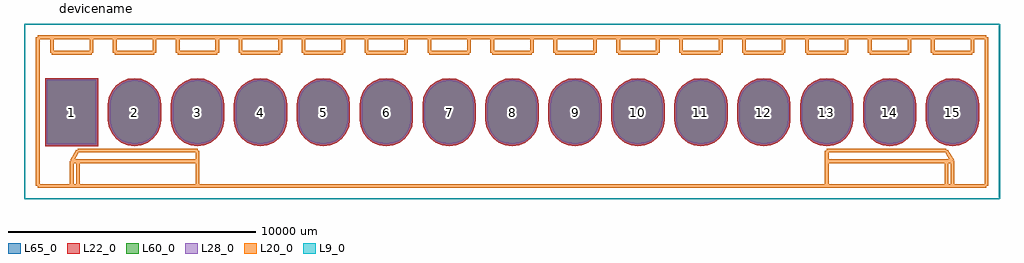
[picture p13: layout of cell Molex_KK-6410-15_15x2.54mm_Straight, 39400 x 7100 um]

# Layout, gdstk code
import gdstk
lib = gdstk.Library(unit=1e-6, precision=1e-09)
def R(c, l, rs):  # rectangles x0, y0, x1, y1
    for r in rs: c.add(gdstk.rectangle(r[:2], r[2:], *l))
def P(c, l, *ps):  # polygons
    for p in ps: c.add(gdstk.Polygon(p, *l))
L9_0 = (9, 0)
L20_0 = (20, 0)
L22_0 = (22, 0)
L28_0 = (28, 0)
L60_0 = (60, 0)
L65_0 = (65, 0)

molex_kk_6410_15_15x2_54 = lib.new_cell('Molex_KK-6410-15_15x2.54mm_Straight')
R(molex_kk_6410_15_15x2_54, L22_0, [(-1075,-1375,1075,1375)])
P(molex_kk_6410_15_15x2_54, L22_0, [(35560,-1375),(35838.23,-1338.37),(36097.5,-1230.977),(36320.14,-1060.14),(36490.977,-837.5),(36598.37,-578.23),(36635,-300),(36635,300),(36598.37,578.23),(36490.977,837.5),(36320.14,1060.14),(36097.5,1230.977),(35838.23,1338.37),(35560,1375),(35281.77,1338.37),(35022.5,1230.977),(34799.86,1060.14),(34629.023,837.5),(34521.63,578.23),(34485,300),(34485,-300),(34521.63,-578.23),(34629.023,-837.5),(34799.86,-1060.14),(35022.5,-1230.977),(35281.77,-1338.37)],
  [(33020,-1375),(33298.23,-1338.37),(33557.5,-1230.977),(33780.14,-1060.14),(33950.977,-837.5),(34058.37,-578.23),(34095,-300),(34095,300),(34058.37,578.23),(33950.977,837.5),(33780.14,1060.14),(33557.5,1230.977),(33298.23,1338.37),(33020,1375),(32741.77,1338.37),(32482.5,1230.977),(32259.86,1060.14),(32089.023,837.5),(31981.63,578.23),(31945,300),(31945,-300),(31981.63,-578.23),(32089.023,-837.5),(32259.86,-1060.14),(32482.5,-1230.977),(32741.77,-1338.37)],
  [(30480,-1375),(30758.23,-1338.37),(31017.5,-1230.977),(31240.14,-1060.14),(31410.977,-837.5),(31518.37,-578.23),(31555,-300),(31555,300),(31518.37,578.23),(31410.977,837.5),(31240.14,1060.14),(31017.5,1230.977),(30758.23,1338.37),(30480,1375),(30201.77,1338.37),(29942.5,1230.977),(29719.86,1060.14),(29549.023,837.5),(29441.63,578.23),(29405,300),(29405,-300),(29441.63,-578.23),(29549.023,-837.5),(29719.86,-1060.14),(29942.5,-1230.977),(30201.77,-1338.37)],
  [(27940,-1375),(28218.23,-1338.37),(28477.5,-1230.977),(28700.14,-1060.14),(28870.977,-837.5),(28978.37,-578.23),(29015,-300),(29015,300),(28978.37,578.23),(28870.977,837.5),(28700.14,1060.14),(28477.5,1230.977),(28218.23,1338.37),(27940,1375),(27661.77,1338.37),(27402.5,1230.977),(27179.86,1060.14),(27009.023,837.5),(26901.63,578.23),(26865,300),(26865,-300),(26901.63,-578.23),(27009.023,-837.5),(27179.86,-1060.14),(27402.5,-1230.977),(27661.77,-1338.37)],
  [(25400,-1375),(25678.23,-1338.37),(25937.5,-1230.977),(26160.14,-1060.14),(26330.977,-837.5),(26438.37,-578.23),(26475,-300),(26475,300),(26438.37,578.23),(26330.977,837.5),(26160.14,1060.14),(25937.5,1230.977),(25678.23,1338.37),(25400,1375),(25121.77,1338.37),(24862.5,1230.977),(24639.86,1060.14),(24469.023,837.5),(24361.63,578.23),(24325,300),(24325,-300),(24361.63,-578.23),(24469.023,-837.5),(24639.86,-1060.14),(24862.5,-1230.977),(25121.77,-1338.37)],
  [(22860,-1375),(23138.23,-1338.37),(23397.5,-1230.977),(23620.14,-1060.14),(23790.977,-837.5),(23898.37,-578.23),(23935,-300),(23935,300),(23898.37,578.23),(23790.977,837.5),(23620.14,1060.14),(23397.5,1230.977),(23138.23,1338.37),(22860,1375),(22581.77,1338.37),(22322.5,1230.977),(22099.86,1060.14),(21929.023,837.5),(21821.63,578.23),(21785,300),(21785,-300),(21821.63,-578.23),(21929.023,-837.5),(22099.86,-1060.14),(22322.5,-1230.977),(22581.77,-1338.37)],
  [(20320,-1375),(20598.23,-1338.37),(20857.5,-1230.977),(21080.14,-1060.14),(21250.977,-837.5),(21358.37,-578.23),(21395,-300),(21395,300),(21358.37,578.23),(21250.977,837.5),(21080.14,1060.14),(20857.5,1230.977),(20598.23,1338.37),(20320,1375),(20041.77,1338.37),(19782.5,1230.977),(19559.86,1060.14),(19389.023,837.5),(19281.63,578.23),(19245,300),(19245,-300),(19281.63,-578.23),(19389.023,-837.5),(19559.86,-1060.14),(19782.5,-1230.977),(20041.77,-1338.37)],
  [(17780,-1375),(18058.23,-1338.37),(18317.5,-1230.977),(18540.14,-1060.14),(18710.977,-837.5),(18818.37,-578.23),(18855,-300),(18855,300),(18818.37,578.23),(18710.977,837.5),(18540.14,1060.14),(18317.5,1230.977),(18058.23,1338.37),(17780,1375),(17501.77,1338.37),(17242.5,1230.977),(17019.86,1060.14),(16849.023,837.5),(16741.63,578.23),(16705,300),(16705,-300),(16741.63,-578.23),(16849.023,-837.5),(17019.86,-1060.14),(17242.5,-1230.977),(17501.77,-1338.37)],
  [(15240,-1375),(15518.23,-1338.37),(15777.5,-1230.977),(16000.14,-1060.14),(16170.977,-837.5),(16278.37,-578.23),(16315,-300),(16315,300),(16278.37,578.23),(16170.977,837.5),(16000.14,1060.14),(15777.5,1230.977),(15518.23,1338.37),(15240,1375),(14961.77,1338.37),(14702.5,1230.977),(14479.86,1060.14),(14309.023,837.5),(14201.63,578.23),(14165,300),(14165,-300),(14201.63,-578.23),(14309.023,-837.5),(14479.86,-1060.14),(14702.5,-1230.977),(14961.77,-1338.37)],
  [(12700,-1375),(12978.23,-1338.37),(13237.5,-1230.977),(13460.14,-1060.14),(13630.977,-837.5),(13738.37,-578.23),(13775,-300),(13775,300),(13738.37,578.23),(13630.977,837.5),(13460.14,1060.14),(13237.5,1230.977),(12978.23,1338.37),(12700,1375),(12421.77,1338.37),(12162.5,1230.977),(11939.86,1060.14),(11769.023,837.5),(11661.63,578.23),(11625,300),(11625,-300),(11661.63,-578.23),(11769.023,-837.5),(11939.86,-1060.14),(12162.5,-1230.977),(12421.77,-1338.37)],
  [(10160,-1375),(10438.23,-1338.37),(10697.5,-1230.977),(10920.14,-1060.14),(11090.977,-837.5),(11198.37,-578.23),(11235,-300),(11235,300),(11198.37,578.23),(11090.977,837.5),(10920.14,1060.14),(10697.5,1230.977),(10438.23,1338.37),(10160,1375),(9881.77,1338.37),(9622.5,1230.977),(9399.86,1060.14),(9229.023,837.5),(9121.63,578.23),(9085,300),(9085,-300),(9121.63,-578.23),(9229.023,-837.5),(9399.86,-1060.14),(9622.5,-1230.977),(9881.77,-1338.37)],
  [(7620,-1375),(7898.23,-1338.37),(8157.5,-1230.977),(8380.14,-1060.14),(8550.977,-837.5),(8658.37,-578.23),(8695,-300),(8695,300),(8658.37,578.23),(8550.977,837.5),(8380.14,1060.14),(8157.5,1230.977),(7898.23,1338.37),(7620,1375),(7341.77,1338.37),(7082.5,1230.977),(6859.86,1060.14),(6689.023,837.5),(6581.63,578.23),(6545,300),(6545,-300),(6581.63,-578.23),(6689.023,-837.5),(6859.86,-1060.14),(7082.5,-1230.977),(7341.77,-1338.37)],
  [(5080,-1375),(5358.23,-1338.37),(5617.5,-1230.977),(5840.14,-1060.14),(6010.977,-837.5),(6118.37,-578.23),(6155,-300),(6155,300),(6118.37,578.23),(6010.977,837.5),(5840.14,1060.14),(5617.5,1230.977),(5358.23,1338.37),(5080,1375),(4801.77,1338.37),(4542.5,1230.977),(4319.86,1060.14),(4149.023,837.5),(4041.63,578.23),(4005,300),(4005,-300),(4041.63,-578.23),(4149.023,-837.5),(4319.86,-1060.14),(4542.5,-1230.977),(4801.77,-1338.37)],
  [(2540,-1375),(2818.23,-1338.37),(3077.5,-1230.977),(3300.14,-1060.14),(3470.977,-837.5),(3578.37,-578.23),(3615,-300),(3615,300),(3578.37,578.23),(3470.977,837.5),(3300.14,1060.14),(3077.5,1230.977),(2818.23,1338.37),(2540,1375),(2261.77,1338.37),(2002.5,1230.977),(1779.86,1060.14),(1609.023,837.5),(1501.63,578.23),(1465,300),(1465,-300),(1501.63,-578.23),(1609.023,-837.5),(1779.86,-1060.14),(2002.5,-1230.977),(2261.77,-1338.37)])
R(molex_kk_6410_15_15x2_54, L28_0, [(-1000,-1300,1000,1300)])
P(molex_kk_6410_15_15x2_54, L28_0, [(35560,-1300),(35818.819,-1265.926),(36060,-1166.025),(36267.107,-1007.107),(36426.025,-800),(36525.926,-558.819),(36560,-300),(36560,300),(36525.926,558.819),(36426.025,800),(36267.107,1007.107),(36060,1166.025),(35818.819,1265.926),(35560,1300),(35301.181,1265.926),(35060,1166.025),(34852.893,1007.107),(34693.975,800),(34594.074,558.819),(34560,300),(34560,-300),(34594.074,-558.819),(34693.975,-800),(34852.893,-1007.107),(35060,-1166.025),(35301.181,-1265.926)],
  [(33020,-1300),(33278.819,-1265.926),(33520,-1166.025),(33727.107,-1007.107),(33886.025,-800),(33985.926,-558.819),(34020,-300),(34020,300),(33985.926,558.819),(33886.025,800),(33727.107,1007.107),(33520,1166.025),(33278.819,1265.926),(33020,1300),(32761.181,1265.926),(32520,1166.025),(32312.893,1007.107),(32153.975,800),(32054.074,558.819),(32020,300),(32020,-300),(32054.074,-558.819),(32153.975,-800),(32312.893,-1007.107),(32520,-1166.025),(32761.181,-1265.926)],
  [(30480,-1300),(30738.819,-1265.926),(30980,-1166.025),(31187.107,-1007.107),(31346.025,-800),(31445.926,-558.819),(31480,-300),(31480,300),(31445.926,558.819),(31346.025,800),(31187.107,1007.107),(30980,1166.025),(30738.819,1265.926),(30480,1300),(30221.181,1265.926),(29980,1166.025),(29772.893,1007.107),(29613.975,800),(29514.074,558.819),(29480,300),(29480,-300),(29514.074,-558.819),(29613.975,-800),(29772.893,-1007.107),(29980,-1166.025),(30221.181,-1265.926)],
  [(27940,-1300),(28198.819,-1265.926),(28440,-1166.025),(28647.107,-1007.107),(28806.025,-800),(28905.926,-558.819),(28940,-300),(28940,300),(28905.926,558.819),(28806.025,800),(28647.107,1007.107),(28440,1166.025),(28198.819,1265.926),(27940,1300),(27681.181,1265.926),(27440,1166.025),(27232.893,1007.107),(27073.975,800),(26974.074,558.819),(26940,300),(26940,-300),(26974.074,-558.819),(27073.975,-800),(27232.893,-1007.107),(27440,-1166.025),(27681.181,-1265.926)],
  [(25400,-1300),(25658.819,-1265.926),(25900,-1166.025),(26107.107,-1007.107),(26266.025,-800),(26365.926,-558.819),(26400,-300),(26400,300),(26365.926,558.819),(26266.025,800),(26107.107,1007.107),(25900,1166.025),(25658.819,1265.926),(25400,1300),(25141.181,1265.926),(24900,1166.025),(24692.893,1007.107),(24533.975,800),(24434.074,558.819),(24400,300),(24400,-300),(24434.074,-558.819),(24533.975,-800),(24692.893,-1007.107),(24900,-1166.025),(25141.181,-1265.926)],
  [(22860,-1300),(23118.819,-1265.926),(23360,-1166.025),(23567.107,-1007.107),(23726.025,-800),(23825.926,-558.819),(23860,-300),(23860,300),(23825.926,558.819),(23726.025,800),(23567.107,1007.107),(23360,1166.025),(23118.819,1265.926),(22860,1300),(22601.181,1265.926),(22360,1166.025),(22152.893,1007.107),(21993.975,800),(21894.074,558.819),(21860,300),(21860,-300),(21894.074,-558.819),(21993.975,-800),(22152.893,-1007.107),(22360,-1166.025),(22601.181,-1265.926)],
  [(20320,-1300),(20578.819,-1265.926),(20820,-1166.025),(21027.107,-1007.107),(21186.025,-800),(21285.926,-558.819),(21320,-300),(21320,300),(21285.926,558.819),(21186.025,800),(21027.107,1007.107),(20820,1166.025),(20578.819,1265.926),(20320,1300),(20061.181,1265.926),(19820,1166.025),(19612.893,1007.107),(19453.975,800),(19354.074,558.819),(19320,300),(19320,-300),(19354.074,-558.819),(19453.975,-800),(19612.893,-1007.107),(19820,-1166.025),(20061.181,-1265.926)],
  [(17780,-1300),(18038.819,-1265.926),(18280,-1166.025),(18487.107,-1007.107),(18646.025,-800),(18745.926,-558.819),(18780,-300),(18780,300),(18745.926,558.819),(18646.025,800),(18487.107,1007.107),(18280,1166.025),(18038.819,1265.926),(17780,1300),(17521.181,1265.926),(17280,1166.025),(17072.893,1007.107),(16913.975,800),(16814.074,558.819),(16780,300),(16780,-300),(16814.074,-558.819),(16913.975,-800),(17072.893,-1007.107),(17280,-1166.025),(17521.181,-1265.926)],
  [(15240,-1300),(15498.819,-1265.926),(15740,-1166.025),(15947.107,-1007.107),(16106.025,-800),(16205.926,-558.819),(16240,-300),(16240,300),(16205.926,558.819),(16106.025,800),(15947.107,1007.107),(15740,1166.025),(15498.819,1265.926),(15240,1300),(14981.181,1265.926),(14740,1166.025),(14532.893,1007.107),(14373.975,800),(14274.074,558.819),(14240,300),(14240,-300),(14274.074,-558.819),(14373.975,-800),(14532.893,-1007.107),(14740,-1166.025),(14981.181,-1265.926)],
  [(12700,-1300),(12958.819,-1265.926),(13200,-1166.025),(13407.107,-1007.107),(13566.025,-800),(13665.926,-558.819),(13700,-300),(13700,300),(13665.926,558.819),(13566.025,800),(13407.107,1007.107),(13200,1166.025),(12958.819,1265.926),(12700,1300),(12441.181,1265.926),(12200,1166.025),(11992.893,1007.107),(11833.975,800),(11734.074,558.819),(11700,300),(11700,-300),(11734.074,-558.819),(11833.975,-800),(11992.893,-1007.107),(12200,-1166.025),(12441.181,-1265.926)],
  [(10160,-1300),(10418.819,-1265.926),(10660,-1166.025),(10867.107,-1007.107),(11026.025,-800),(11125.926,-558.819),(11160,-300),(11160,300),(11125.926,558.819),(11026.025,800),(10867.107,1007.107),(10660,1166.025),(10418.819,1265.926),(10160,1300),(9901.181,1265.926),(9660,1166.025),(9452.893,1007.107),(9293.975,800),(9194.074,558.819),(9160,300),(9160,-300),(9194.074,-558.819),(9293.975,-800),(9452.893,-1007.107),(9660,-1166.025),(9901.181,-1265.926)],
  [(7620,-1300),(7878.819,-1265.926),(8120,-1166.025),(8327.107,-1007.107),(8486.025,-800),(8585.926,-558.819),(8620,-300),(8620,300),(8585.926,558.819),(8486.025,800),(8327.107,1007.107),(8120,1166.025),(7878.819,1265.926),(7620,1300),(7361.181,1265.926),(7120,1166.025),(6912.893,1007.107),(6753.975,800),(6654.074,558.819),(6620,300),(6620,-300),(6654.074,-558.819),(6753.975,-800),(6912.893,-1007.107),(7120,-1166.025),(7361.181,-1265.926)],
  [(5080,-1300),(5338.819,-1265.926),(5580,-1166.025),(5787.107,-1007.107),(5946.025,-800),(6045.926,-558.819),(6080,-300),(6080,300),(6045.926,558.819),(5946.025,800),(5787.107,1007.107),(5580,1166.025),(5338.819,1265.926),(5080,1300),(4821.181,1265.926),(4580,1166.025),(4372.893,1007.107),(4213.975,800),(4114.074,558.819),(4080,300),(4080,-300),(4114.074,-558.819),(4213.975,-800),(4372.893,-1007.107),(4580,-1166.025),(4821.181,-1265.926)],
  [(2540,-1300),(2798.819,-1265.926),(3040,-1166.025),(3247.107,-1007.107),(3406.025,-800),(3505.926,-558.819),(3540,-300),(3540,300),(3505.926,558.819),(3406.025,800),(3247.107,1007.107),(3040,1166.025),(2798.819,1265.926),(2540,1300),(2281.181,1265.926),(2040,1166.025),(1832.893,1007.107),(1673.975,800),(1574.074,558.819),(1540,300),(1540,-300),(1574.074,-558.819),(1673.975,-800),(1832.893,-1007.107),(2040,-1166.025),(2281.181,-1265.926)])
R(molex_kk_6410_15_15x2_54, L60_0, [(-1000,-1300,1000,1300)])
P(molex_kk_6410_15_15x2_54, L60_0, [(35560,-1300),(35818.819,-1265.926),(36060,-1166.025),(36267.107,-1007.107),(36426.025,-800),(36525.926,-558.819),(36560,-300),(36560,300),(36525.926,558.819),(36426.025,800),(36267.107,1007.107),(36060,1166.025),(35818.819,1265.926),(35560,1300),(35301.181,1265.926),(35060,1166.025),(34852.893,1007.107),(34693.975,800),(34594.074,558.819),(34560,300),(34560,-300),(34594.074,-558.819),(34693.975,-800),(34852.893,-1007.107),(35060,-1166.025),(35301.181,-1265.926)],
  [(33020,-1300),(33278.819,-1265.926),(33520,-1166.025),(33727.107,-1007.107),(33886.025,-800),(33985.926,-558.819),(34020,-300),(34020,300),(33985.926,558.819),(33886.025,800),(33727.107,1007.107),(33520,1166.025),(33278.819,1265.926),(33020,1300),(32761.181,1265.926),(32520,1166.025),(32312.893,1007.107),(32153.975,800),(32054.074,558.819),(32020,300),(32020,-300),(32054.074,-558.819),(32153.975,-800),(32312.893,-1007.107),(32520,-1166.025),(32761.181,-1265.926)],
  [(30480,-1300),(30738.819,-1265.926),(30980,-1166.025),(31187.107,-1007.107),(31346.025,-800),(31445.926,-558.819),(31480,-300),(31480,300),(31445.926,558.819),(31346.025,800),(31187.107,1007.107),(30980,1166.025),(30738.819,1265.926),(30480,1300),(30221.181,1265.926),(29980,1166.025),(29772.893,1007.107),(29613.975,800),(29514.074,558.819),(29480,300),(29480,-300),(29514.074,-558.819),(29613.975,-800),(29772.893,-1007.107),(29980,-1166.025),(30221.181,-1265.926)],
  [(27940,-1300),(28198.819,-1265.926),(28440,-1166.025),(28647.107,-1007.107),(28806.025,-800),(28905.926,-558.819),(28940,-300),(28940,300),(28905.926,558.819),(28806.025,800),(28647.107,1007.107),(28440,1166.025),(28198.819,1265.926),(27940,1300),(27681.181,1265.926),(27440,1166.025),(27232.893,1007.107),(27073.975,800),(26974.074,558.819),(26940,300),(26940,-300),(26974.074,-558.819),(27073.975,-800),(27232.893,-1007.107),(27440,-1166.025),(27681.181,-1265.926)],
  [(25400,-1300),(25658.819,-1265.926),(25900,-1166.025),(26107.107,-1007.107),(26266.025,-800),(26365.926,-558.819),(26400,-300),(26400,300),(26365.926,558.819),(26266.025,800),(26107.107,1007.107),(25900,1166.025),(25658.819,1265.926),(25400,1300),(25141.181,1265.926),(24900,1166.025),(24692.893,1007.107),(24533.975,800),(24434.074,558.819),(24400,300),(24400,-300),(24434.074,-558.819),(24533.975,-800),(24692.893,-1007.107),(24900,-1166.025),(25141.181,-1265.926)],
  [(22860,-1300),(23118.819,-1265.926),(23360,-1166.025),(23567.107,-1007.107),(23726.025,-800),(23825.926,-558.819),(23860,-300),(23860,300),(23825.926,558.819),(23726.025,800),(23567.107,1007.107),(23360,1166.025),(23118.819,1265.926),(22860,1300),(22601.181,1265.926),(22360,1166.025),(22152.893,1007.107),(21993.975,800),(21894.074,558.819),(21860,300),(21860,-300),(21894.074,-558.819),(21993.975,-800),(22152.893,-1007.107),(22360,-1166.025),(22601.181,-1265.926)],
  [(20320,-1300),(20578.819,-1265.926),(20820,-1166.025),(21027.107,-1007.107),(21186.025,-800),(21285.926,-558.819),(21320,-300),(21320,300),(21285.926,558.819),(21186.025,800),(21027.107,1007.107),(20820,1166.025),(20578.819,1265.926),(20320,1300),(20061.181,1265.926),(19820,1166.025),(19612.893,1007.107),(19453.975,800),(19354.074,558.819),(19320,300),(19320,-300),(19354.074,-558.819),(19453.975,-800),(19612.893,-1007.107),(19820,-1166.025),(20061.181,-1265.926)],
  [(17780,-1300),(18038.819,-1265.926),(18280,-1166.025),(18487.107,-1007.107),(18646.025,-800),(18745.926,-558.819),(18780,-300),(18780,300),(18745.926,558.819),(18646.025,800),(18487.107,1007.107),(18280,1166.025),(18038.819,1265.926),(17780,1300),(17521.181,1265.926),(17280,1166.025),(17072.893,1007.107),(16913.975,800),(16814.074,558.819),(16780,300),(16780,-300),(16814.074,-558.819),(16913.975,-800),(17072.893,-1007.107),(17280,-1166.025),(17521.181,-1265.926)],
  [(15240,-1300),(15498.819,-1265.926),(15740,-1166.025),(15947.107,-1007.107),(16106.025,-800),(16205.926,-558.819),(16240,-300),(16240,300),(16205.926,558.819),(16106.025,800),(15947.107,1007.107),(15740,1166.025),(15498.819,1265.926),(15240,1300),(14981.181,1265.926),(14740,1166.025),(14532.893,1007.107),(14373.975,800),(14274.074,558.819),(14240,300),(14240,-300),(14274.074,-558.819),(14373.975,-800),(14532.893,-1007.107),(14740,-1166.025),(14981.181,-1265.926)],
  [(12700,-1300),(12958.819,-1265.926),(13200,-1166.025),(13407.107,-1007.107),(13566.025,-800),(13665.926,-558.819),(13700,-300),(13700,300),(13665.926,558.819),(13566.025,800),(13407.107,1007.107),(13200,1166.025),(12958.819,1265.926),(12700,1300),(12441.181,1265.926),(12200,1166.025),(11992.893,1007.107),(11833.975,800),(11734.074,558.819),(11700,300),(11700,-300),(11734.074,-558.819),(11833.975,-800),(11992.893,-1007.107),(12200,-1166.025),(12441.181,-1265.926)],
  [(10160,-1300),(10418.819,-1265.926),(10660,-1166.025),(10867.107,-1007.107),(11026.025,-800),(11125.926,-558.819),(11160,-300),(11160,300),(11125.926,558.819),(11026.025,800),(10867.107,1007.107),(10660,1166.025),(10418.819,1265.926),(10160,1300),(9901.181,1265.926),(9660,1166.025),(9452.893,1007.107),(9293.975,800),(9194.074,558.819),(9160,300),(9160,-300),(9194.074,-558.819),(9293.975,-800),(9452.893,-1007.107),(9660,-1166.025),(9901.181,-1265.926)],
  [(7620,-1300),(7878.819,-1265.926),(8120,-1166.025),(8327.107,-1007.107),(8486.025,-800),(8585.926,-558.819),(8620,-300),(8620,300),(8585.926,558.819),(8486.025,800),(8327.107,1007.107),(8120,1166.025),(7878.819,1265.926),(7620,1300),(7361.181,1265.926),(7120,1166.025),(6912.893,1007.107),(6753.975,800),(6654.074,558.819),(6620,300),(6620,-300),(6654.074,-558.819),(6753.975,-800),(6912.893,-1007.107),(7120,-1166.025),(7361.181,-1265.926)],
  [(5080,-1300),(5338.819,-1265.926),(5580,-1166.025),(5787.107,-1007.107),(5946.025,-800),(6045.926,-558.819),(6080,-300),(6080,300),(6045.926,558.819),(5946.025,800),(5787.107,1007.107),(5580,1166.025),(5338.819,1265.926),(5080,1300),(4821.181,1265.926),(4580,1166.025),(4372.893,1007.107),(4213.975,800),(4114.074,558.819),(4080,300),(4080,-300),(4114.074,-558.819),(4213.975,-800),(4372.893,-1007.107),(4580,-1166.025),(4821.181,-1265.926)],
  [(2540,-1300),(2798.819,-1265.926),(3040,-1166.025),(3247.107,-1007.107),(3406.025,-800),(3505.926,-558.819),(3540,-300),(3540,300),(3505.926,558.819),(3406.025,800),(3247.107,1007.107),(3040,1166.025),(2798.819,1265.926),(2540,1300),(2281.181,1265.926),(2040,1166.025),(1832.893,1007.107),(1673.975,800),(1574.074,558.819),(1540,300),(1540,-300),(1574.074,-558.819),(1673.975,-800),(1832.893,-1007.107),(2040,-1166.025),(2281.181,-1265.926)])
R(molex_kk_6410_15_15x2_54, L65_0, [(-1075,-1375,1075,1375)])
P(molex_kk_6410_15_15x2_54, L65_0, [(35560,-1375),(35838.23,-1338.37),(36097.5,-1230.977),(36320.14,-1060.14),(36490.977,-837.5),(36598.37,-578.23),(36635,-300),(36635,300),(36598.37,578.23),(36490.977,837.5),(36320.14,1060.14),(36097.5,1230.977),(35838.23,1338.37),(35560,1375),(35281.77,1338.37),(35022.5,1230.977),(34799.86,1060.14),(34629.023,837.5),(34521.63,578.23),(34485,300),(34485,-300),(34521.63,-578.23),(34629.023,-837.5),(34799.86,-1060.14),(35022.5,-1230.977),(35281.77,-1338.37)],
  [(33020,-1375),(33298.23,-1338.37),(33557.5,-1230.977),(33780.14,-1060.14),(33950.977,-837.5),(34058.37,-578.23),(34095,-300),(34095,300),(34058.37,578.23),(33950.977,837.5),(33780.14,1060.14),(33557.5,1230.977),(33298.23,1338.37),(33020,1375),(32741.77,1338.37),(32482.5,1230.977),(32259.86,1060.14),(32089.023,837.5),(31981.63,578.23),(31945,300),(31945,-300),(31981.63,-578.23),(32089.023,-837.5),(32259.86,-1060.14),(32482.5,-1230.977),(32741.77,-1338.37)],
  [(30480,-1375),(30758.23,-1338.37),(31017.5,-1230.977),(31240.14,-1060.14),(31410.977,-837.5),(31518.37,-578.23),(31555,-300),(31555,300),(31518.37,578.23),(31410.977,837.5),(31240.14,1060.14),(31017.5,1230.977),(30758.23,1338.37),(30480,1375),(30201.77,1338.37),(29942.5,1230.977),(29719.86,1060.14),(29549.023,837.5),(29441.63,578.23),(29405,300),(29405,-300),(29441.63,-578.23),(29549.023,-837.5),(29719.86,-1060.14),(29942.5,-1230.977),(30201.77,-1338.37)],
  [(27940,-1375),(28218.23,-1338.37),(28477.5,-1230.977),(28700.14,-1060.14),(28870.977,-837.5),(28978.37,-578.23),(29015,-300),(29015,300),(28978.37,578.23),(28870.977,837.5),(28700.14,1060.14),(28477.5,1230.977),(28218.23,1338.37),(27940,1375),(27661.77,1338.37),(27402.5,1230.977),(27179.86,1060.14),(27009.023,837.5),(26901.63,578.23),(26865,300),(26865,-300),(26901.63,-578.23),(27009.023,-837.5),(27179.86,-1060.14),(27402.5,-1230.977),(27661.77,-1338.37)],
  [(25400,-1375),(25678.23,-1338.37),(25937.5,-1230.977),(26160.14,-1060.14),(26330.977,-837.5),(26438.37,-578.23),(26475,-300),(26475,300),(26438.37,578.23),(26330.977,837.5),(26160.14,1060.14),(25937.5,1230.977),(25678.23,1338.37),(25400,1375),(25121.77,1338.37),(24862.5,1230.977),(24639.86,1060.14),(24469.023,837.5),(24361.63,578.23),(24325,300),(24325,-300),(24361.63,-578.23),(24469.023,-837.5),(24639.86,-1060.14),(24862.5,-1230.977),(25121.77,-1338.37)],
  [(22860,-1375),(23138.23,-1338.37),(23397.5,-1230.977),(23620.14,-1060.14),(23790.977,-837.5),(23898.37,-578.23),(23935,-300),(23935,300),(23898.37,578.23),(23790.977,837.5),(23620.14,1060.14),(23397.5,1230.977),(23138.23,1338.37),(22860,1375),(22581.77,1338.37),(22322.5,1230.977),(22099.86,1060.14),(21929.023,837.5),(21821.63,578.23),(21785,300),(21785,-300),(21821.63,-578.23),(21929.023,-837.5),(22099.86,-1060.14),(22322.5,-1230.977),(22581.77,-1338.37)],
  [(20320,-1375),(20598.23,-1338.37),(20857.5,-1230.977),(21080.14,-1060.14),(21250.977,-837.5),(21358.37,-578.23),(21395,-300),(21395,300),(21358.37,578.23),(21250.977,837.5),(21080.14,1060.14),(20857.5,1230.977),(20598.23,1338.37),(20320,1375),(20041.77,1338.37),(19782.5,1230.977),(19559.86,1060.14),(19389.023,837.5),(19281.63,578.23),(19245,300),(19245,-300),(19281.63,-578.23),(19389.023,-837.5),(19559.86,-1060.14),(19782.5,-1230.977),(20041.77,-1338.37)],
  [(17780,-1375),(18058.23,-1338.37),(18317.5,-1230.977),(18540.14,-1060.14),(18710.977,-837.5),(18818.37,-578.23),(18855,-300),(18855,300),(18818.37,578.23),(18710.977,837.5),(18540.14,1060.14),(18317.5,1230.977),(18058.23,1338.37),(17780,1375),(17501.77,1338.37),(17242.5,1230.977),(17019.86,1060.14),(16849.023,837.5),(16741.63,578.23),(16705,300),(16705,-300),(16741.63,-578.23),(16849.023,-837.5),(17019.86,-1060.14),(17242.5,-1230.977),(17501.77,-1338.37)],
  [(15240,-1375),(15518.23,-1338.37),(15777.5,-1230.977),(16000.14,-1060.14),(16170.977,-837.5),(16278.37,-578.23),(16315,-300),(16315,300),(16278.37,578.23),(16170.977,837.5),(16000.14,1060.14),(15777.5,1230.977),(15518.23,1338.37),(15240,1375),(14961.77,1338.37),(14702.5,1230.977),(14479.86,1060.14),(14309.023,837.5),(14201.63,578.23),(14165,300),(14165,-300),(14201.63,-578.23),(14309.023,-837.5),(14479.86,-1060.14),(14702.5,-1230.977),(14961.77,-1338.37)],
  [(12700,-1375),(12978.23,-1338.37),(13237.5,-1230.977),(13460.14,-1060.14),(13630.977,-837.5),(13738.37,-578.23),(13775,-300),(13775,300),(13738.37,578.23),(13630.977,837.5),(13460.14,1060.14),(13237.5,1230.977),(12978.23,1338.37),(12700,1375),(12421.77,1338.37),(12162.5,1230.977),(11939.86,1060.14),(11769.023,837.5),(11661.63,578.23),(11625,300),(11625,-300),(11661.63,-578.23),(11769.023,-837.5),(11939.86,-1060.14),(12162.5,-1230.977),(12421.77,-1338.37)],
  [(10160,-1375),(10438.23,-1338.37),(10697.5,-1230.977),(10920.14,-1060.14),(11090.977,-837.5),(11198.37,-578.23),(11235,-300),(11235,300),(11198.37,578.23),(11090.977,837.5),(10920.14,1060.14),(10697.5,1230.977),(10438.23,1338.37),(10160,1375),(9881.77,1338.37),(9622.5,1230.977),(9399.86,1060.14),(9229.023,837.5),(9121.63,578.23),(9085,300),(9085,-300),(9121.63,-578.23),(9229.023,-837.5),(9399.86,-1060.14),(9622.5,-1230.977),(9881.77,-1338.37)],
  [(7620,-1375),(7898.23,-1338.37),(8157.5,-1230.977),(8380.14,-1060.14),(8550.977,-837.5),(8658.37,-578.23),(8695,-300),(8695,300),(8658.37,578.23),(8550.977,837.5),(8380.14,1060.14),(8157.5,1230.977),(7898.23,1338.37),(7620,1375),(7341.77,1338.37),(7082.5,1230.977),(6859.86,1060.14),(6689.023,837.5),(6581.63,578.23),(6545,300),(6545,-300),(6581.63,-578.23),(6689.023,-837.5),(6859.86,-1060.14),(7082.5,-1230.977),(7341.77,-1338.37)],
  [(5080,-1375),(5358.23,-1338.37),(5617.5,-1230.977),(5840.14,-1060.14),(6010.977,-837.5),(6118.37,-578.23),(6155,-300),(6155,300),(6118.37,578.23),(6010.977,837.5),(5840.14,1060.14),(5617.5,1230.977),(5358.23,1338.37),(5080,1375),(4801.77,1338.37),(4542.5,1230.977),(4319.86,1060.14),(4149.023,837.5),(4041.63,578.23),(4005,300),(4005,-300),(4041.63,-578.23),(4149.023,-837.5),(4319.86,-1060.14),(4542.5,-1230.977),(4801.77,-1338.37)],
  [(2540,-1375),(2818.23,-1338.37),(3077.5,-1230.977),(3300.14,-1060.14),(3470.977,-837.5),(3578.37,-578.23),(3615,-300),(3615,300),(3578.37,578.23),(3470.977,837.5),(3300.14,1060.14),(3077.5,1230.977),(2818.23,1338.37),(2540,1375),(2261.77,1338.37),(2002.5,1230.977),(1779.86,1060.14),(1609.023,837.5),(1501.63,578.23),(1465,300),(1465,-300),(1501.63,-578.23),(1609.023,-837.5),(1779.86,-1060.14),(2002.5,-1230.977),(2261.77,-1338.37)])
molex_kk_6410_15_15x2_54.add(gdstk.FlexPath([(37450,-3500),(-1900,-3500)], 50, ends="flush", simple_path=True, layer=9, datatype=0))  # L9_0
molex_kk_6410_15_15x2_54.add(gdstk.FlexPath([(37450,3550),(37450,-3500)], 50, ends="flush", simple_path=True, layer=9, datatype=0))  # L9_0
molex_kk_6410_15_15x2_54.add(gdstk.FlexPath([(-1900,3550),(37450,3550)], 50, ends="flush", simple_path=True, layer=9, datatype=0))  # L9_0
molex_kk_6410_15_15x2_54.add(gdstk.FlexPath([(-1900,-3500),(-1900,3550)], 50, ends="flush", simple_path=True, layer=9, datatype=0))  # L9_0
molex_kk_6410_15_15x2_54.add(gdstk.FlexPath([(36360,2400),(36360,3020)], 149.998, ends="flush", simple_path=True, layer=20, datatype=0))  # L20_0
molex_kk_6410_15_15x2_54.add(gdstk.FlexPath([(34760,2400),(36360,2400)], 149.998, ends="flush", simple_path=True, layer=20, datatype=0))  # L20_0
molex_kk_6410_15_15x2_54.add(gdstk.FlexPath([(34760,3020),(34760,2400)], 149.998, ends="flush", simple_path=True, layer=20, datatype=0))  # L20_0
molex_kk_6410_15_15x2_54.add(gdstk.FlexPath([(33820,2400),(33820,3020)], 149.998, ends="flush", simple_path=True, layer=20, datatype=0))  # L20_0
molex_kk_6410_15_15x2_54.add(gdstk.FlexPath([(32220,2400),(33820,2400)], 149.998, ends="flush", simple_path=True, layer=20, datatype=0))  # L20_0
molex_kk_6410_15_15x2_54.add(gdstk.FlexPath([(32220,3020),(32220,2400)], 149.998, ends="flush", simple_path=True, layer=20, datatype=0))  # L20_0
molex_kk_6410_15_15x2_54.add(gdstk.FlexPath([(31280,2400),(31280,3020)], 149.998, ends="flush", simple_path=True, layer=20, datatype=0))  # L20_0
molex_kk_6410_15_15x2_54.add(gdstk.FlexPath([(29680,2400),(31280,2400)], 149.998, ends="flush", simple_path=True, layer=20, datatype=0))  # L20_0
molex_kk_6410_15_15x2_54.add(gdstk.FlexPath([(29680,3020),(29680,2400)], 149.998, ends="flush", simple_path=True, layer=20, datatype=0))  # L20_0
molex_kk_6410_15_15x2_54.add(gdstk.FlexPath([(28740,2400),(28740,3020)], 149.998, ends="flush", simple_path=True, layer=20, datatype=0))  # L20_0
molex_kk_6410_15_15x2_54.add(gdstk.FlexPath([(27140,2400),(28740,2400)], 149.998, ends="flush", simple_path=True, layer=20, datatype=0))  # L20_0
molex_kk_6410_15_15x2_54.add(gdstk.FlexPath([(27140,3020),(27140,2400)], 149.998, ends="flush", simple_path=True, layer=20, datatype=0))  # L20_0
molex_kk_6410_15_15x2_54.add(gdstk.FlexPath([(26200,2400),(26200,3020)], 149.998, ends="flush", simple_path=True, layer=20, datatype=0))  # L20_0
molex_kk_6410_15_15x2_54.add(gdstk.FlexPath([(24600,2400),(26200,2400)], 149.998, ends="flush", simple_path=True, layer=20, datatype=0))  # L20_0
molex_kk_6410_15_15x2_54.add(gdstk.FlexPath([(24600,3020),(24600,2400)], 149.998, ends="flush", simple_path=True, layer=20, datatype=0))  # L20_0
molex_kk_6410_15_15x2_54.add(gdstk.FlexPath([(23660,2400),(23660,3020)], 149.998, ends="flush", simple_path=True, layer=20, datatype=0))  # L20_0
molex_kk_6410_15_15x2_54.add(gdstk.FlexPath([(22060,2400),(23660,2400)], 149.998, ends="flush", simple_path=True, layer=20, datatype=0))  # L20_0
molex_kk_6410_15_15x2_54.add(gdstk.FlexPath([(22060,3020),(22060,2400)], 149.998, ends="flush", simple_path=True, layer=20, datatype=0))  # L20_0
molex_kk_6410_15_15x2_54.add(gdstk.FlexPath([(21120,2400),(21120,3020)], 149.998, ends="flush", simple_path=True, layer=20, datatype=0))  # L20_0
molex_kk_6410_15_15x2_54.add(gdstk.FlexPath([(19520,2400),(21120,2400)], 149.998, ends="flush", simple_path=True, layer=20, datatype=0))  # L20_0
molex_kk_6410_15_15x2_54.add(gdstk.FlexPath([(19520,3020),(19520,2400)], 149.998, ends="flush", simple_path=True, layer=20, datatype=0))  # L20_0
molex_kk_6410_15_15x2_54.add(gdstk.FlexPath([(18580,2400),(18580,3020)], 149.998, ends="flush", simple_path=True, layer=20, datatype=0))  # L20_0
molex_kk_6410_15_15x2_54.add(gdstk.FlexPath([(16980,2400),(18580,2400)], 149.998, ends="flush", simple_path=True, layer=20, datatype=0))  # L20_0
molex_kk_6410_15_15x2_54.add(gdstk.FlexPath([(16980,3020),(16980,2400)], 149.998, ends="flush", simple_path=True, layer=20, datatype=0))  # L20_0
molex_kk_6410_15_15x2_54.add(gdstk.FlexPath([(16040,2400),(16040,3020)], 149.998, ends="flush", simple_path=True, layer=20, datatype=0))  # L20_0
molex_kk_6410_15_15x2_54.add(gdstk.FlexPath([(14440,2400),(16040,2400)], 149.998, ends="flush", simple_path=True, layer=20, datatype=0))  # L20_0
molex_kk_6410_15_15x2_54.add(gdstk.FlexPath([(14440,3020),(14440,2400)], 149.998, ends="flush", simple_path=True, layer=20, datatype=0))  # L20_0
molex_kk_6410_15_15x2_54.add(gdstk.FlexPath([(13500,2400),(13500,3020)], 149.998, ends="flush", simple_path=True, layer=20, datatype=0))  # L20_0
molex_kk_6410_15_15x2_54.add(gdstk.FlexPath([(11900,2400),(13500,2400)], 149.998, ends="flush", simple_path=True, layer=20, datatype=0))  # L20_0
molex_kk_6410_15_15x2_54.add(gdstk.FlexPath([(11900,3020),(11900,2400)], 149.998, ends="flush", simple_path=True, layer=20, datatype=0))  # L20_0
molex_kk_6410_15_15x2_54.add(gdstk.FlexPath([(10960,2400),(10960,3020)], 149.998, ends="flush", simple_path=True, layer=20, datatype=0))  # L20_0
molex_kk_6410_15_15x2_54.add(gdstk.FlexPath([(9360,2400),(10960,2400)], 149.998, ends="flush", simple_path=True, layer=20, datatype=0))  # L20_0
molex_kk_6410_15_15x2_54.add(gdstk.FlexPath([(9360,3020),(9360,2400)], 149.998, ends="flush", simple_path=True, layer=20, datatype=0))  # L20_0
molex_kk_6410_15_15x2_54.add(gdstk.FlexPath([(8420,2400),(8420,3020)], 149.998, ends="flush", simple_path=True, layer=20, datatype=0))  # L20_0
molex_kk_6410_15_15x2_54.add(gdstk.FlexPath([(6820,2400),(8420,2400)], 149.998, ends="flush", simple_path=True, layer=20, datatype=0))  # L20_0
molex_kk_6410_15_15x2_54.add(gdstk.FlexPath([(6820,3020),(6820,2400)], 149.998, ends="flush", simple_path=True, layer=20, datatype=0))  # L20_0
molex_kk_6410_15_15x2_54.add(gdstk.FlexPath([(5880,2400),(5880,3020)], 149.998, ends="flush", simple_path=True, layer=20, datatype=0))  # L20_0
molex_kk_6410_15_15x2_54.add(gdstk.FlexPath([(4280,2400),(5880,2400)], 149.998, ends="flush", simple_path=True, layer=20, datatype=0))  # L20_0
molex_kk_6410_15_15x2_54.add(gdstk.FlexPath([(4280,3020),(4280,2400)], 149.998, ends="flush", simple_path=True, layer=20, datatype=0))  # L20_0
molex_kk_6410_15_15x2_54.add(gdstk.FlexPath([(3340,2400),(3340,3020)], 149.998, ends="flush", simple_path=True, layer=20, datatype=0))  # L20_0
molex_kk_6410_15_15x2_54.add(gdstk.FlexPath([(1740,2400),(3340,2400)], 149.998, ends="flush", simple_path=True, layer=20, datatype=0))  # L20_0
molex_kk_6410_15_15x2_54.add(gdstk.FlexPath([(1740,3020),(1740,2400)], 149.998, ends="flush", simple_path=True, layer=20, datatype=0))  # L20_0
molex_kk_6410_15_15x2_54.add(gdstk.FlexPath([(800,2400),(800,3020)], 149.998, ends="flush", simple_path=True, layer=20, datatype=0))  # L20_0
molex_kk_6410_15_15x2_54.add(gdstk.FlexPath([(-800,2400),(800,2400)], 149.998, ends="flush", simple_path=True, layer=20, datatype=0))  # L20_0
molex_kk_6410_15_15x2_54.add(gdstk.FlexPath([(-800,3020),(-800,2400)], 149.998, ends="flush", simple_path=True, layer=20, datatype=0))  # L20_0
molex_kk_6410_15_15x2_54.add(gdstk.FlexPath([(35310,-2980),(35310,-1980)], 149.998, ends="flush", simple_path=True, layer=20, datatype=0))  # L20_0
molex_kk_6410_15_15x2_54.add(gdstk.FlexPath([(30480,-1550),(30480,-1980)], 149.998, ends="flush", simple_path=True, layer=20, datatype=0))  # L20_0
molex_kk_6410_15_15x2_54.add(gdstk.FlexPath([(35310,-1550),(30480,-1550)], 149.998, ends="flush", simple_path=True, layer=20, datatype=0))  # L20_0
molex_kk_6410_15_15x2_54.add(gdstk.FlexPath([(35560,-1980),(35310,-1550)], 149.998, ends="flush", simple_path=True, layer=20, datatype=0))  # L20_0
molex_kk_6410_15_15x2_54.add(gdstk.FlexPath([(30480,-1980),(30480,-2980)], 149.998, ends="flush", simple_path=True, layer=20, datatype=0))  # L20_0
molex_kk_6410_15_15x2_54.add(gdstk.FlexPath([(35560,-1980),(30480,-1980)], 149.998, ends="flush", simple_path=True, layer=20, datatype=0))  # L20_0
molex_kk_6410_15_15x2_54.add(gdstk.FlexPath([(35560,-2980),(35560,-1980)], 149.998, ends="flush", simple_path=True, layer=20, datatype=0))  # L20_0
molex_kk_6410_15_15x2_54.add(gdstk.FlexPath([(250,-2980),(250,-1980)], 149.998, ends="flush", simple_path=True, layer=20, datatype=0))  # L20_0
molex_kk_6410_15_15x2_54.add(gdstk.FlexPath([(5080,-1550),(5080,-1980)], 149.998, ends="flush", simple_path=True, layer=20, datatype=0))  # L20_0
molex_kk_6410_15_15x2_54.add(gdstk.FlexPath([(250,-1550),(5080,-1550)], 149.998, ends="flush", simple_path=True, layer=20, datatype=0))  # L20_0
molex_kk_6410_15_15x2_54.add(gdstk.FlexPath([(0,-1980),(250,-1550)], 149.998, ends="flush", simple_path=True, layer=20, datatype=0))  # L20_0
molex_kk_6410_15_15x2_54.add(gdstk.FlexPath([(5080,-1980),(5080,-2980)], 149.998, ends="flush", simple_path=True, layer=20, datatype=0))  # L20_0
molex_kk_6410_15_15x2_54.add(gdstk.FlexPath([(0,-1980),(5080,-1980)], 149.998, ends="flush", simple_path=True, layer=20, datatype=0))  # L20_0
molex_kk_6410_15_15x2_54.add(gdstk.FlexPath([(0,-2980),(0,-1980)], 149.998, ends="flush", simple_path=True, layer=20, datatype=0))  # L20_0
molex_kk_6410_15_15x2_54.add(gdstk.FlexPath([(36930,3020),(-1370,3020)], 149.998, ends="flush", simple_path=True, layer=20, datatype=0))  # L20_0
molex_kk_6410_15_15x2_54.add(gdstk.FlexPath([(36930,-2980),(36930,3020)], 149.998, ends="flush", simple_path=True, layer=20, datatype=0))  # L20_0
molex_kk_6410_15_15x2_54.add(gdstk.FlexPath([(-1370,-2980),(36930,-2980)], 149.998, ends="flush", simple_path=True, layer=20, datatype=0))  # L20_0
molex_kk_6410_15_15x2_54.add(gdstk.FlexPath([(-1370,3020),(-1370,-2980)], 149.998, ends="flush", simple_path=True, layer=20, datatype=0))  # L20_0
molex_kk_6410_15_15x2_54.add(gdstk.Label('15', (35560,0), layer=28, texttype=0))
molex_kk_6410_15_15x2_54.add(gdstk.Label('14', (33020,0), layer=28, texttype=0))
molex_kk_6410_15_15x2_54.add(gdstk.Label('13', (30480,0), layer=28, texttype=0))
molex_kk_6410_15_15x2_54.add(gdstk.Label('12', (27940,0), layer=28, texttype=0))
molex_kk_6410_15_15x2_54.add(gdstk.Label('11', (25400,0), layer=28, texttype=0))
molex_kk_6410_15_15x2_54.add(gdstk.Label('10', (22860,0), layer=28, texttype=0))
molex_kk_6410_15_15x2_54.add(gdstk.Label('9', (20320,0), layer=28, texttype=0))
molex_kk_6410_15_15x2_54.add(gdstk.Label('8', (17780,0), layer=28, texttype=0))
molex_kk_6410_15_15x2_54.add(gdstk.Label('7', (15240,0), layer=28, texttype=0))
molex_kk_6410_15_15x2_54.add(gdstk.Label('6', (12700,0), layer=28, texttype=0))
molex_kk_6410_15_15x2_54.add(gdstk.Label('5', (10160,0), layer=28, texttype=0))
molex_kk_6410_15_15x2_54.add(gdstk.Label('4', (7620,0), layer=28, texttype=0))
molex_kk_6410_15_15x2_54.add(gdstk.Label('3', (5080,0), layer=28, texttype=0))
molex_kk_6410_15_15x2_54.add(gdstk.Label('2', (2540,0), layer=28, texttype=0))
molex_kk_6410_15_15x2_54.add(gdstk.Label('1', (0,0), layer=28, texttype=0))
molex_kk_6410_15_15x2_54.add(gdstk.Label('type', (17780,-4500), layer=9, texttype=0))
molex_kk_6410_15_15x2_54.add(gdstk.Label('devicename', (1000,4500), layer=9, texttype=0))

lib.write_gds('Molex_KK-6410-15_15x2.54mm_Straight.gds')
